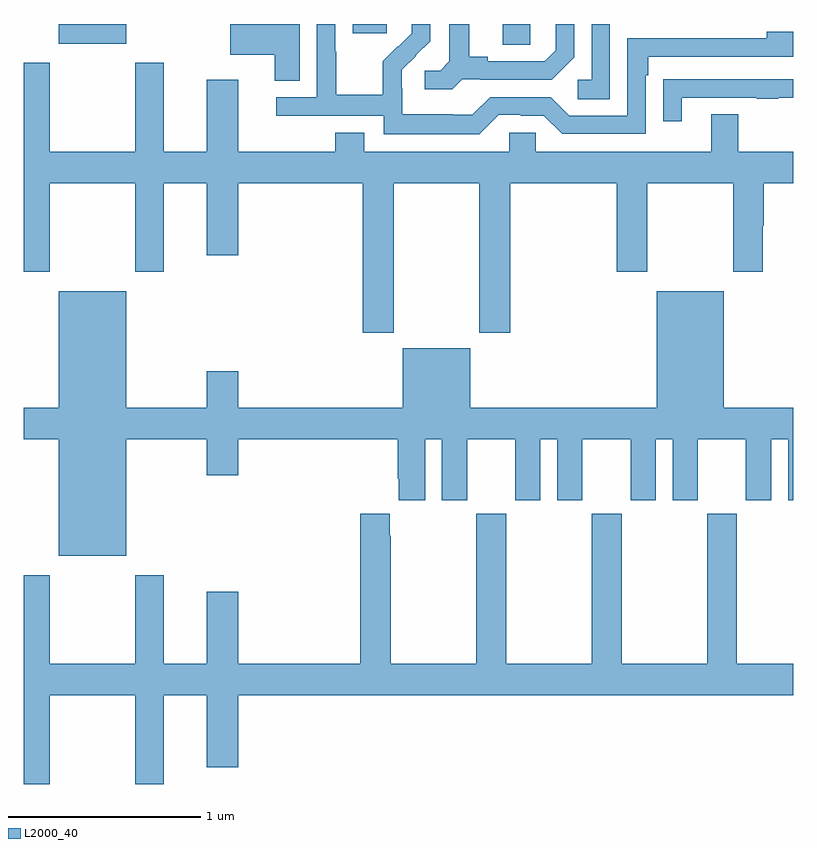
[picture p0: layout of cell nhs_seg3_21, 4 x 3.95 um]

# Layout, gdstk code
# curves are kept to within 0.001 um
import gdstk
lib = gdstk.Library(unit=1e-6, precision=1e-09)
def R(c, l, rs):  # rectangles x0, y0, x1, y1
    for r in rs: c.add(gdstk.rectangle(r[:2], r[2:], *l))
def P(c, l, *ps):  # polygons
    for p in ps: c.add(gdstk.Polygon(p, *l))
L2000_40 = (2000, 40)

nhs_seg3_21 = lib.new_cell('nhs_seg3_21')
R(nhs_seg3_21, L2000_40, [(113.489,712.291,113.634,712.4), (111.182,712.298,111.532,712.4), (112.709,712.353,112.888,712.4)])
P(nhs_seg3_21, L2000_40, [(114.048,712.4),(113.952,712.4),(113.952,712.11),(113.88,712.11),(113.88,712.009),(114.048,712.009)],
  [(112.435,712.4),(112.074,712.4),(112.074,712.241),(112.304,712.241),(112.304,712.105),(112.435,712.105)],
  [(113.469,711.927),(113.585,711.927),(113.585,711.924),(113.703,711.924),(113.799,711.828),(114.234,711.828),(114.234,712.133),(114.247,712.133),(114.247,712.23),(115,712.23),(115,712.36),(114.863,712.36),(114.863,712.326),(114.138,712.326),(114.138,711.924),(113.835,711.924),(113.739,712.02),(113.424,712.02),(113.331,711.927),(113.231,711.927),(113.231,711.931),(112.968,711.931),(112.968,712.065),(112.966,712.065),(112.966,712.162),(113.112,712.31),(113.112,712.4),(113.018,712.4),(113.018,712.352),(112.947,712.281),(112.944,712.284),(112.867,712.207),(112.867,712.033),(112.623,712.033),(112.623,712.256),(112.62,712.256),(112.62,712.4),(112.524,712.4),(112.524,712.02),(112.311,712.02),(112.311,711.924),(112.872,711.924),(112.872,711.827),(113.369,711.827)],
  [(113.28,712.113),(113.374,712.113),(113.374,712.11),(113.746,712.11),(113.862,712.226),(113.862,712.4),(113.765,712.4),(113.765,712.263),(113.708,712.206),(113.413,712.206),(113.413,712.229),(113.317,712.229),(113.317,712.4),(113.213,712.4),(113.213,712.205),(113.166,712.158),(113.085,712.158),(113.085,712.061),(113.228,712.061)],
  [(112.923,711.572),(113.368,711.572),(113.368,710.793),(113.528,710.793),(113.528,711.572),(114.083,711.572),(114.083,711.111),(114.243,711.111),(114.243,711.572),(114.688,711.572),(114.688,711.111),(114.843,711.111),(114.843,711.35),(114.848,711.35),(114.848,711.572),(115,711.572),(115,711.736),(114.715,711.736),(114.715,711.931),(114.575,711.931),(114.575,711.736),(113.661,711.736),(113.661,711.834),(113.523,711.834),(113.523,711.736),(112.771,711.736),(112.771,711.835),(112.619,711.835),(112.619,711.736),(112.114,711.736),(112.114,712.111),(111.95,712.111),(111.95,711.736),(111.727,711.736),(111.727,712.198),(111.58,712.198),(111.58,711.736),(111.135,711.736),(111.135,712.198),(111,712.198),(111,711.111),(111.135,711.111),(111.135,711.572),(111.58,711.572),(111.58,711.111),(111.727,711.111),(111.727,711.572),(111.95,711.572),(111.95,711.198),(112.114,711.198),(112.114,711.572),(112.763,711.572),(112.763,710.793),(112.923,710.793)],
  [(114.421,712.017),(114.811,712.017),(114.811,712.012),(114.923,712.012),(114.923,712.017),(115,712.017),(115,712.113),(114.427,712.113),(114.427,712.112),(114.325,712.112),(114.325,711.894),(114.421,711.894)],
  [(111.532,710.24),(111.95,710.24),(111.95,710.052),(112.114,710.052),(112.114,710.24),(112.943,710.24),(112.943,710.035),(112.949,710.035),(112.949,709.923),(113.086,709.923),(113.086,710.24),(113.174,710.24),(113.174,709.923),(113.305,709.923),(113.305,710.24),(113.555,710.24),(113.555,709.923),(113.686,709.923),(113.686,710.24),(113.774,710.24),(113.774,709.923),(113.905,709.923),(113.905,710.24),(114.155,710.24),(114.155,709.923),(114.286,709.923),(114.286,710.24),(114.374,710.24),(114.374,709.923),(114.505,709.923),(114.505,710.24),(114.755,710.24),(114.755,709.923),(114.886,709.923),(114.886,710.24),(114.974,710.24),(114.974,709.923),(115,709.923),(115,710.404),(114.64,710.404),(114.64,711.01),(114.29,711.01),(114.29,710.404),(113.32,710.404),(113.32,710.713),(112.97,710.713),(112.97,710.404),(112.114,710.404),(112.114,710.593),(111.95,710.593),(111.95,710.404),(111.532,710.404),(111.532,711.01),(111.182,711.01),(111.182,710.404),(111,710.404),(111,710.24),(111.182,710.24),(111.182,709.634),(111.532,709.634)],
  [(111.135,708.908),(111.58,708.908),(111.58,708.447),(111.727,708.447),(111.727,708.908),(111.95,708.908),(111.95,708.534),(112.114,708.534),(112.114,708.908),(115,708.908),(115,709.072),(114.708,709.072),(114.708,709.852),(114.553,709.852),(114.553,709.072),(114.108,709.072),(114.108,709.852),(113.953,709.852),(113.953,709.072),(113.508,709.072),(113.508,709.852),(113.353,709.852),(113.353,709.072),(112.908,709.072),(112.908,709.739),(112.903,709.739),(112.903,709.852),(112.748,709.852),(112.748,709.072),(112.114,709.072),(112.114,709.447),(111.95,709.447),(111.95,709.072),(111.727,709.072),(111.727,709.534),(111.58,709.534),(111.58,709.072),(111.135,709.072),(111.135,709.534),(111,709.534),(111,708.447),(111.135,708.447)])

lib.write_gds('nhs_seg3_21.gds')
